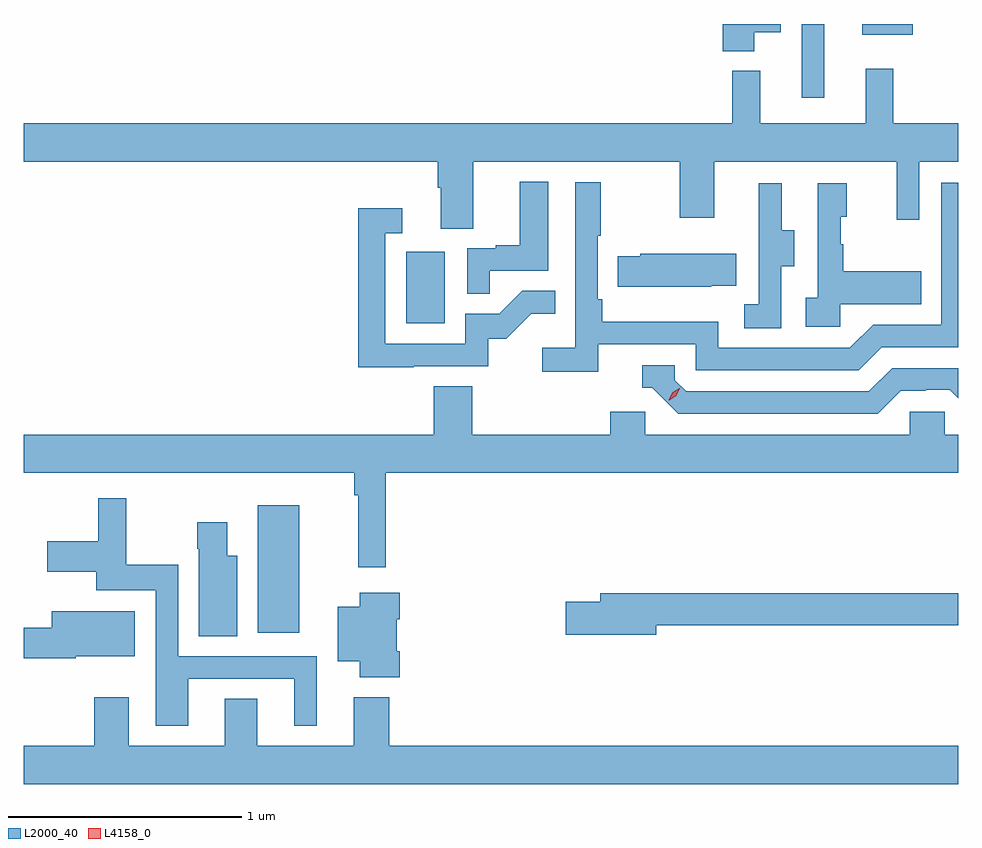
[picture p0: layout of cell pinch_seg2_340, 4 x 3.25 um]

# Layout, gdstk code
import gdstk
lib = gdstk.Library(unit=1e-6, precision=1e-09)
def R(c, l, rs):  # rectangles x0, y0, x1, y1
    for r in rs: c.add(gdstk.rectangle(r[:2], r[2:], *l))
def P(c, l, *ps):  # polygons
    for p in ps: c.add(gdstk.Polygon(p, *l))
L2000_40 = (2000, 40)
L4158_0 = (4158, 0)

pinch_seg2_340 = lib.new_cell('pinch_seg2_340')
R(pinch_seg2_340, L2000_40, [(993.41,641.624,993.589,642.169), (994.046,642.948,994.21,643.255), (995.739,643.914,995.836,644.23), (995.999,644.183,996.214,644.23)])
P(pinch_seg2_340, L2000_40, [(995.536,644.195),(995.65,644.195),(995.65,644.23),(995.402,644.23),(995.402,644.114),(995.536,644.114)],
  [(994.333,643.64),(995.218,643.64),(995.218,643.401),(995.365,643.401),(995.365,643.64),(996.146,643.64),(996.146,643.392),(996.243,643.392),(996.243,643.64),(996.409,643.64),(996.409,643.804),(996.131,643.804),(996.131,644.038),(996.014,644.038),(996.014,643.804),(995.561,643.804),(995.561,644.029),(995.443,644.029),(995.443,643.804),(992.409,643.804),(992.409,643.64),(994.181,643.64),(994.181,643.528),(994.193,643.528),(994.193,643.354),(994.333,643.354)],
  [(994.403,643.173),(994.654,643.173),(994.654,643.555),(994.532,643.555),(994.532,643.282),(994.429,643.282),(994.429,643.269),(994.308,643.269),(994.308,643.075),(994.403,643.075)],
  [(994.868,642.858),(995.286,642.858),(995.286,642.747),(995.983,642.747),(996.082,642.846),(996.409,642.846),(996.409,643.551),(996.336,643.551),(996.336,642.942),(996.045,642.942),(995.946,642.843),(995.382,642.843),(995.382,642.955),(994.886,642.955),(994.886,643.051),(994.866,643.051),(994.866,643.324),(994.879,643.324),(994.879,643.552),(994.77,643.552),(994.77,642.844),(994.629,642.844),(994.629,642.742),(994.868,642.742)],
  [(995.904,643.031),(996.251,643.031),(996.251,643.171),(995.917,643.171),(995.917,643.286),(995.907,643.286),(995.907,643.404),(995.932,643.404),(995.932,643.549),(995.808,643.549),(995.808,643.058),(995.757,643.058),(995.757,642.933),(995.904,642.933)],
  [(995.652,643.192),(995.707,643.192),(995.707,643.347),(995.653,643.347),(995.653,643.549),(995.555,643.549),(995.555,643.335),(995.556,643.335),(995.556,643.031),(995.493,643.031),(995.493,642.928),(995.652,642.928)],
  [(994.079,642.765),(994.398,642.765),(994.398,642.882),(994.474,642.882),(994.581,642.989),(994.685,642.989),(994.685,643.088),(994.542,643.088),(994.444,642.99),(994.299,642.99),(994.299,642.861),(993.957,642.861),(993.957,643.335),(994.03,643.335),(994.03,643.441),(993.841,643.441),(993.841,642.76),(994.079,642.76)],
  [(995.351,643.109),(995.459,643.109),(995.459,643.246),(995.049,643.246),(995.049,643.236),(994.951,643.236),(994.951,643.106),(995.351,643.106)],
  [(996.163,642.66),(996.27,642.66),(996.27,642.663),(996.373,642.663),(996.409,642.627),(996.409,642.756),(996.126,642.756),(996.027,642.657),(995.244,642.657),(995.196,642.705),(995.196,642.768),(995.057,642.768),(995.057,642.672),(995.1,642.672),(995.211,642.561),(996.064,642.561)],
  [(993.959,642.308),(996.409,642.308),(996.409,642.472),(996.351,642.472),(996.351,642.57),(996.201,642.57),(996.201,642.472),(995.07,642.472),(995.07,642.57),(994.919,642.57),(994.919,642.472),(994.328,642.472),(994.328,642.68),(994.163,642.68),(994.163,642.472),(992.409,642.472),(992.409,642.308),(993.823,642.308),(993.823,642.212),(993.841,642.212),(993.841,641.904),(993.959,641.904)],
  [(993.112,641.427),(993.566,641.427),(993.566,641.226),(993.664,641.226),(993.664,641.523),(993.069,641.523),(993.069,641.914),(992.848,641.914),(992.848,642.199),(992.727,642.199),(992.727,642.015),(992.508,642.015),(992.508,641.885),(992.719,641.885),(992.719,641.805),(992.973,641.805),(992.973,641.226),(993.112,641.226)],
  [(993.322,641.953),(993.28,641.953),(993.28,642.097),(993.151,642.097),(993.151,641.984),(993.158,641.984),(993.158,641.608),(993.322,641.608)],
  [(994.019,641.545),(994.006,641.545),(994.006,641.681),(994.019,641.681),(994.019,641.794),(993.848,641.794),(993.848,641.734),(993.752,641.734),(993.752,641.501),(993.848,641.501),(993.848,641.433),(994.019,641.433)],
  [(995.116,641.656),(996.409,641.656),(996.409,641.792),(994.877,641.792),(994.877,641.756),(994.728,641.756),(994.728,641.614),(995.116,641.614)],
  [(992.632,641.522),(992.884,641.522),(992.884,641.716),(992.528,641.716),(992.528,641.644),(992.409,641.644),(992.409,641.515),(992.632,641.515)],
  [(996.409,641.14),(993.974,641.14),(993.974,641.347),(993.821,641.347),(993.821,641.14),(993.409,641.14),(993.409,641.342),(993.269,641.342),(993.269,641.14),(992.857,641.14),(992.857,641.347),(992.71,641.347),(992.71,641.14),(992.409,641.14),(992.409,640.976),(996.409,640.976)])
P(pinch_seg2_340, L4158_0, [(995.171,642.62),(995.171,642.621),(995.188,642.653),(995.219,642.672),(995.219,642.672),(995.219,642.672),(995.202,642.639),(995.172,642.62)])

lib.write_gds('pinch_seg2_340.gds')
